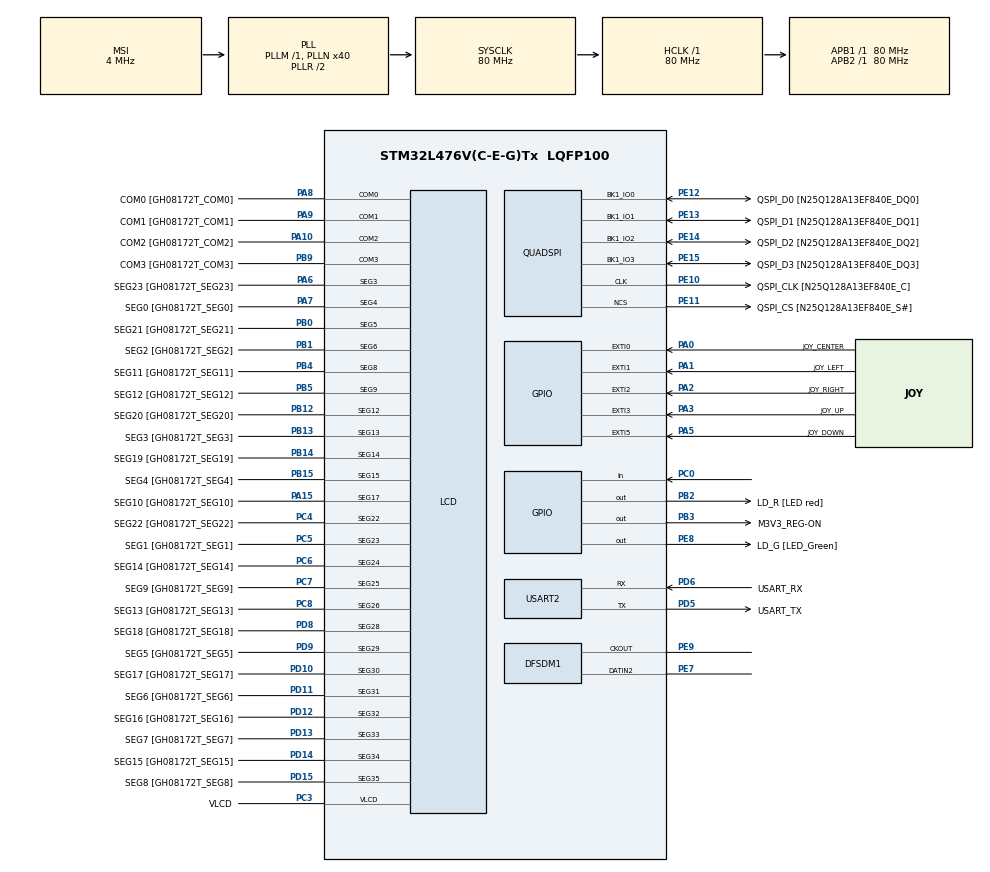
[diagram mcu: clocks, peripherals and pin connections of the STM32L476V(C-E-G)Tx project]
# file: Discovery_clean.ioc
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DFSDM1.Divider=40
DFSDM1.DmaMode_reg_FIL0=ENABLE
DFSDM1.FastMode_reg_FIL0=ENABLE
DFSDM1.Filter_regChannel_FIL0=DFSDM_CHANNEL_2
DFSDM1.Fosr_FIL0=250
DFSDM1.SincOrder_FIL0=DFSDM_FILTER_SINC3_ORDER
Dma.DFSDM1_FLT0.0.Direction=DMA_PERIPH_TO_MEMORY
Dma.DFSDM1_FLT0.0.Instance=DMA1_Channel4
Dma.DFSDM1_FLT0.0.MemDataAlignment=DMA_MDATAALIGN_WORD
Dma.DFSDM1_FLT0.0.MemInc=DMA_MINC_ENABLE
Dma.DFSDM1_FLT0.0.Mode=DMA_CIRCULAR
Dma.DFSDM1_FLT0.0.PeriphDataAlignment=DMA_PDATAALIGN_WORD
Dma.DFSDM1_FLT0.0.PeriphInc=DMA_PINC_DISABLE
Dma.DFSDM1_FLT0.0.Priority=DMA_PRIORITY_LOW
Dma.Request0=DFSDM1_FLT0
Dma.Request1=USART2_RX
Dma.Request2=USART2_TX
Dma.USART2_RX.1.Direction=DMA_PERIPH_TO_MEMORY
Dma.USART2_RX.1.Instance=DMA1_Channel6
Dma.USART2_RX.1.MemDataAlignment=DMA_MDATAALIGN_BYTE
Dma.USART2_RX.1.MemInc=DMA_MINC_ENABLE
Dma.USART2_RX.1.Mode=DMA_CIRCULAR
Dma.USART2_RX.1.PeriphDataAlignment=DMA_PDATAALIGN_BYTE
Dma.USART2_RX.1.PeriphInc=DMA_PINC_DISABLE
Dma.USART2_RX.1.Priority=DMA_PRIORITY_LOW
Dma.USART2_TX.2.Direction=DMA_MEMORY_TO_PERIPH
Dma.USART2_TX.2.Instance=DMA1_Channel7
Dma.USART2_TX.2.MemDataAlignment=DMA_MDATAALIGN_BYTE
Dma.USART2_TX.2.MemInc=DMA_MINC_ENABLE
Dma.USART2_TX.2.Mode=DMA_CIRCULAR
Dma.USART2_TX.2.PeriphDataAlignment=DMA_PDATAALIGN_BYTE
Dma.USART2_TX.2.PeriphInc=DMA_PINC_DISABLE
Dma.USART2_TX.2.Priority=DMA_PRIORITY_LOW
LCD.Bias=LCD_BIAS_1_3
LCD.Contrast=LCD_CONTRASTLEVEL_5
LCD.Prescaler=LCD_PRESCALER_4
LCD.PulseOnDuration=LCD_PULSEONDURATION_4
Mcu.Family=STM32L4
Mcu.Name=STM32L476V(C-E-G)Tx
Mcu.Package=LQFP100
NVIC.DMA1_Channel4_IRQn=true\:0\:0\:false\:false\:true\:false\:true
NVIC.DMA1_Channel6_IRQn=true\:0\:0\:false\:false\:true\:false\:true
NVIC.DMA1_Channel7_IRQn=true\:0\:0\:false\:false\:true\:false\:true
NVIC.EXTI0_IRQn=true\:0\:0\:false\:false\:true\:true\:true
NVIC.EXTI1_IRQn=true\:0\:0\:false\:false\:true\:true\:true
NVIC.EXTI2_IRQn=true\:0\:0\:false\:false\:true\:true\:true
NVIC.EXTI3_IRQn=true\:0\:0\:false\:false\:true\:true\:true
NVIC.EXTI9_5_IRQn=true\:0\:0\:false\:false\:true\:true\:true
NVIC.PriorityGroup=NVIC_PRIORITYGROUP_4
NVIC.USART2_IRQn=true\:0\:0\:false\:false\:true\:true\:true
PA0.GPIO_Label=JOY_CENTER
PA0.GPIO_PuPd=GPIO_PULLDOWN
PA0.Signal=GPXTI0
PA1.GPIO_Label=JOY_LEFT
PA1.GPIO_PuPd=GPIO_PULLDOWN
PA1.Signal=GPXTI1
PA10.GPIO_Label=COM2 [GH08172T_COM2]
PA10.GPIO_Mode=GPIO_MODE_AF_PP
PA10.GPIO_PuPd=GPIO_NOPULL
PA10.GPIO_Speed=GPIO_SPEED_FREQ_LOW
PA10.Mode=1/4 Duty Cycle
PA10.Signal=LCD_COM2
PA13\ (JTMS-SWDIO).GPIO_Label=SWDIO
PA13\ (JTMS-SWDIO).Signal=SYS_JTMS-SWDIO
PA14\ (JTCK-SWCLK).GPIO_Label=SWCLK
PA14\ (JTCK-SWCLK).Signal=SYS_JTCK-SWCLK
PA15\ (JTDI).GPIO_Label=SEG10 [GH08172T_SEG10]
PA15\ (JTDI).GPIO_Mode=GPIO_MODE_AF_PP
PA15\ (JTDI).GPIO_PuPd=GPIO_NOPULL
PA15\ (JTDI).GPIO_Speed=GPIO_SPEED_FREQ_LOW
PA15\ (JTDI).Mode=SEG17
PA15\ (JTDI).Signal=LCD_SEG17
PA2.GPIO_Label=JOY_RIGHT
PA2.GPIO_PuPd=GPIO_PULLDOWN
PA2.Signal=GPXTI2
PA3.GPIO_Label=JOY_UP
PA3.GPIO_PuPd=GPIO_PULLDOWN
PA3.Signal=GPXTI3
PA5.GPIO_Label=JOY_DOWN
PA5.GPIO_PuPd=GPIO_PULLDOWN
PA5.Signal=GPXTI5
PA6.GPIO_Label=SEG23 [GH08172T_SEG23]
PA6.GPIO_Mode=GPIO_MODE_AF_PP
PA6.GPIO_PuPd=GPIO_NOPULL
PA6.GPIO_Speed=GPIO_SPEED_FREQ_LOW
PA6.Mode=SEG3
PA6.Signal=LCD_SEG3
PA7.GPIO_Label=SEG0 [GH08172T_SEG0]
PA7.GPIO_Mode=GPIO_MODE_AF_PP
PA7.GPIO_PuPd=GPIO_NOPULL
PA7.GPIO_Speed=GPIO_SPEED_FREQ_LOW
PA7.Mode=SEG4
PA7.Signal=LCD_SEG4
PA8.GPIO_Label=COM0 [GH08172T_COM0]
PA8.GPIO_Mode=GPIO_MODE_AF_PP
PA8.GPIO_PuPd=GPIO_NOPULL
PA8.GPIO_Speed=GPIO_SPEED_FREQ_LOW
PA8.Mode=1/4 Duty Cycle
PA8.Signal=LCD_COM0
PA9.GPIO_Label=COM1 [GH08172T_COM1]
PA9.GPIO_Mode=GPIO_MODE_AF_PP
PA9.GPIO_PuPd=GPIO_NOPULL
PA9.GPIO_Speed=GPIO_SPEED_FREQ_LOW
PA9.Mode=1/4 Duty Cycle
PA9.Signal=LCD_COM1
PB0.GPIO_Label=SEG21 [GH08172T_SEG21]
PB0.GPIO_Mode=GPIO_MODE_AF_PP
PB0.GPIO_PuPd=GPIO_NOPULL
PB0.GPIO_Speed=GPIO_SPEED_FREQ_LOW
PB0.Mode=SEG5
PB0.Signal=LCD_SEG5
PB1.GPIO_Label=SEG2 [GH08172T_SEG2]
PB1.GPIO_Mode=GPIO_MODE_AF_PP
PB1.GPIO_PuPd=GPIO_NOPULL
PB1.GPIO_Speed=GPIO_SPEED_FREQ_LOW
PB1.Mode=SEG6
PB1.Signal=LCD_SEG6
PB12.GPIO_Label=SEG20 [GH08172T_SEG20]
PB12.GPIO_Mode=GPIO_MODE_AF_PP
PB12.GPIO_PuPd=GPIO_NOPULL
PB12.GPIO_Speed=GPIO_SPEED_FREQ_LOW
PB12.Mode=SEG12
PB12.Signal=LCD_SEG12
PB13.GPIO_Label=SEG3 [GH08172T_SEG3]
PB13.GPIO_Mode=GPIO_MODE_AF_PP
PB13.GPIO_PuPd=GPIO_NOPULL
PB13.GPIO_Speed=GPIO_SPEED_FREQ_LOW
PB13.Mode=SEG13
PB13.Signal=LCD_SEG13
PB14.GPIO_Label=SEG19 [GH08172T_SEG19]
PB14.GPIO_Mode=GPIO_MODE_AF_PP
PB14.GPIO_PuPd=GPIO_NOPULL
PB14.GPIO_Speed=GPIO_SPEED_FREQ_LOW
PB14.Mode=SEG14
PB14.Signal=LCD_SEG14
PB15.GPIO_Label=SEG4 [GH08172T_SEG4]
PB15.GPIO_Mode=GPIO_MODE_AF_PP
PB15.GPIO_PuPd=GPIO_NOPULL
PB15.GPIO_Speed=GPIO_SPEED_FREQ_LOW
PB15.Mode=SEG15
PB15.Signal=LCD_SEG15
PB2.GPIO_Label=LD_R [LED red]
PB2.GPIO_ModeDefaultOutputPP=GPIO_MODE_OUTPUT_PP
PB2.GPIO_PuPd=GPIO_PULLUP
PB2.GPIO_Speed=GPIO_SPEED_FREQ_VERY_HIGH
PB2.Signal=GPIO_Output
PB3\ (JTDO-TRACESWO).GPIO_Label=M3V3_REG-ON
PB3\ (JTDO-TRACESWO).GPIO_ModeDefaultOutputPP=GPIO_MODE_OUTPUT_PP
PB3\ (JTDO-TRACESWO).GPIO_PuPd=GPIO_NOPULL
PB3\ (JTDO-TRACESWO).GPIO_Speed=GPIO_SPEED_FREQ_LOW
PB3\ (JTDO-TRACESWO).Signal=GPIO_Output
PB4\ (NJTRST).GPIO_Label=SEG11 [GH08172T_SEG11]
PB4\ (NJTRST).GPIO_Mode=GPIO_MODE_AF_PP
PB4\ (NJTRST).GPIO_PuPd=GPIO_NOPULL
PB4\ (NJTRST).GPIO_Speed=GPIO_SPEED_FREQ_LOW
PB4\ (NJTRST).Mode=SEG8
PB4\ (NJTRST).Signal=LCD_SEG8
PB5.GPIO_Label=SEG12 [GH08172T_SEG12]
PB5.GPIO_Mode=GPIO_MODE_AF_PP
PB5.GPIO_PuPd=GPIO_NOPULL
PB5.GPIO_Speed=GPIO_SPEED_FREQ_LOW
PB5.Mode=SEG9
PB5.Signal=LCD_SEG9
PB9.GPIO_FM9=__NULL
PB9.GPIO_Label=COM3 [GH08172T_COM3]
PB9.GPIO_Mode=GPIO_MODE_AF_PP
PB9.GPIO_PuPd=GPIO_NOPULL
PB9.GPIO_Speed=GPIO_SPEED_FREQ_LOW
PB9.Mode=1/4 Duty Cycle
PB9.Signal=LCD_COM3
PC0.Signal=GPIO_Input
PC14-OSC32_IN\ (PC14).Signal=RCC_OSC32_IN
PC15-OSC32_OUT\ (PC15).Signal=RCC_OSC32_OUT
PC3.GPIO_Label=VLCD
PC3.GPIO_Mode=GPIO_MODE_AF_PP
PC3.GPIO_PuPd=GPIO_NOPULL
PC3.GPIO_Speed=GPIO_SPEED_FREQ_LOW
PC3.Mode=1/4 Duty Cycle
PC3.Signal=LCD_VLCD
PC4.GPIO_Label=SEG22 [GH08172T_SEG22]
PC4.GPIO_Mode=GPIO_MODE_AF_PP
PC4.GPIO_PuPd=GPIO_NOPULL
PC4.GPIO_Speed=GPIO_SPEED_FREQ_LOW
PC4.Mode=SEG22
PC4.Signal=LCD_SEG22
PC5.GPIO_Label=SEG1 [GH08172T_SEG1]
PC5.GPIO_Mode=GPIO_MODE_AF_PP
PC5.GPIO_PuPd=GPIO_NOPULL
PC5.GPIO_Speed=GPIO_SPEED_FREQ_LOW
PC5.Mode=SEG23
PC5.Signal=LCD_SEG23
PC6.GPIO_Label=SEG14 [GH08172T_SEG14]
PC6.GPIO_Mode=GPIO_MODE_AF_PP
PC6.GPIO_PuPd=GPIO_NOPULL
PC6.GPIO_Speed=GPIO_SPEED_FREQ_LOW
PC6.Mode=SEG24
PC6.Signal=LCD_SEG24
PC7.GPIO_Label=SEG9 [GH08172T_SEG9]
PC7.GPIO_Mode=GPIO_MODE_AF_PP
PC7.GPIO_PuPd=GPIO_NOPULL
PC7.GPIO_Speed=GPIO_SPEED_FREQ_LOW
PC7.Mode=SEG25
PC7.Signal=LCD_SEG25
PC8.GPIO_Label=SEG13 [GH08172T_SEG13]
PC8.GPIO_Mode=GPIO_MODE_AF_PP
PC8.GPIO_PuPd=GPIO_NOPULL
PC8.GPIO_Speed=GPIO_SPEED_FREQ_LOW
PC8.Mode=SEG26
PC8.Signal=LCD_SEG26
PD10.GPIO_Label=SEG17 [GH08172T_SEG17]
PD10.GPIO_Mode=GPIO_MODE_AF_PP
PD10.GPIO_PuPd=GPIO_NOPULL
PD10.GPIO_Speed=GPIO_SPEED_FREQ_LOW
PD10.Mode=SEG30
PD10.Signal=LCD_SEG30
PD11.GPIO_Label=SEG6 [GH08172T_SEG6]
PD11.GPIO_Mode=GPIO_MODE_AF_PP
PD11.GPIO_PuPd=GPIO_NOPULL
PD11.GPIO_Speed=GPIO_SPEED_FREQ_LOW
PD11.Mode=SEG31
PD11.Signal=LCD_SEG31
PD12.GPIO_Label=SEG16 [GH08172T_SEG16]
PD12.GPIO_Mode=GPIO_MODE_AF_PP
PD12.GPIO_PuPd=GPIO_NOPULL
PD12.GPIO_Speed=GPIO_SPEED_FREQ_LOW
PD12.Mode=SEG32
PD12.Signal=LCD_SEG32
PD13.GPIO_Label=SEG7 [GH08172T_SEG7]
PD13.GPIO_Mode=GPIO_MODE_AF_PP
PD13.GPIO_PuPd=GPIO_NOPULL
PD13.GPIO_Speed=GPIO_SPEED_FREQ_LOW
PD13.Mode=SEG33
PD13.Signal=LCD_SEG33
PD14.GPIO_Label=SEG15 [GH08172T_SEG15]
PD14.GPIO_Mode=GPIO_MODE_AF_PP
PD14.GPIO_PuPd=GPIO_NOPULL
PD14.GPIO_Speed=GPIO_SPEED_FREQ_LOW
PD14.Mode=SEG34
PD14.Signal=LCD_SEG34
PD15.GPIO_Label=SEG8 [GH08172T_SEG8]
PD15.GPIO_Mode=GPIO_MODE_AF_PP
PD15.GPIO_PuPd=GPIO_NOPULL
PD15.GPIO_Speed=GPIO_SPEED_FREQ_LOW
PD15.Mode=SEG35
PD15.Signal=LCD_SEG35
PD5.GPIO_Label=USART_TX
PD5.GPIO_Mode=GPIO_MODE_AF_PP
PD5.GPIO_PuPd=GPIO_NOPULL
PD5.GPIO_Speed=GPIO_SPEED_FREQ_VERY_HIGH
PD5.Mode=Asynchronous
PD5.Signal=USART2_TX
PD6.GPIO_Label=USART_RX
PD6.GPIO_Mode=GPIO_MODE_AF_PP
PD6.GPIO_PuPd=GPIO_NOPULL
PD6.GPIO_Speed=GPIO_SPEED_FREQ_VERY_HIGH
PD6.Mode=Asynchronous
PD6.Signal=USART2_RX
PD8.GPIO_Label=SEG18 [GH08172T_SEG18]
PD8.GPIO_Mode=GPIO_MODE_AF_PP
PD8.GPIO_PuPd=GPIO_NOPULL
PD8.GPIO_Speed=GPIO_SPEED_FREQ_LOW
PD8.Mode=SEG28
PD8.Signal=LCD_SEG28
PD9.GPIO_Label=SEG5 [GH08172T_SEG5]
PD9.GPIO_Mode=GPIO_MODE_AF_PP
PD9.GPIO_PuPd=GPIO_NOPULL
PD9.GPIO_Speed=GPIO_SPEED_FREQ_LOW
PD9.Mode=SEG29
PD9.Signal=LCD_SEG29
PE10.GPIO_Label=QSPI_CLK [N25Q128A13EF840E_C]
PE10.GPIO_Mode=GPIO_MODE_AF_PP
PE10.GPIO_PuPd=GPIO_NOPULL
PE10.GPIO_Speed=GPIO_SPEED_FREQ_VERY_HIGH
PE10.Mode=Single Bank
PE10.Signal=QUADSPI_CLK
PE11.GPIO_Label=QSPI_CS [N25Q128A13EF840E_S\#]
PE11.GPIO_Mode=GPIO_MODE_AF_PP
PE11.GPIO_PuPd=GPIO_NOPULL
PE11.GPIO_Speed=GPIO_SPEED_FREQ_VERY_HIGH
PE11.Mode=Single Bank
PE11.Signal=QUADSPI_NCS
PE12.GPIO_Label=QSPI_D0 [N25Q128A13EF840E_DQ0]
PE12.GPIO_Mode=GPIO_MODE_AF_PP
PE12.GPIO_PuPd=GPIO_NOPULL
PE12.GPIO_Speed=GPIO_SPEED_FREQ_VERY_HIGH
PE12.Mode=Single Bank
PE12.Signal=QUADSPI_BK1_IO0
PE13.GPIO_Label=QSPI_D1 [N25Q128A13EF840E_DQ1]
PE13.GPIO_Mode=GPIO_MODE_AF_PP
PE13.GPIO_PuPd=GPIO_NOPULL
PE13.GPIO_Speed=GPIO_SPEED_FREQ_VERY_HIGH
PE13.Mode=Single Bank
PE13.Signal=QUADSPI_BK1_IO1
PE14.GPIO_Label=QSPI_D2 [N25Q128A13EF840E_DQ2]
PE14.GPIO_Mode=GPIO_MODE_AF_PP
PE14.GPIO_PuPd=GPIO_NOPULL
PE14.GPIO_Speed=GPIO_SPEED_FREQ_VERY_HIGH
PE14.Mode=Single Bank
PE14.Signal=QUADSPI_BK1_IO2
PE15.GPIO_Label=QSPI_D3 [N25Q128A13EF840E_DQ3]
PE15.GPIO_Mode=GPIO_MODE_AF_PP
PE15.GPIO_PuPd=GPIO_NOPULL
PE15.GPIO_Speed=GPIO_SPEED_FREQ_VERY_HIGH
PE15.Mode=Single Bank
PE15.Signal=QUADSPI_BK1_IO3
PE7.Signal=S_DATAIN2DFSDM1
PE8.GPIO_Label=LD_G [LED_Green]
PE8.GPIO_ModeDefaultOutputPP=GPIO_MODE_OUTPUT_PP
PE8.GPIO_PuPd=GPIO_PULLUP
PE8.GPIO_Speed=GPIO_SPEED_FREQ_VERY_HIGH
PE8.Signal=GPIO_Output
PE9.Signal=S_CKOUTDFSDM1
PH0-OSC_IN\ (PH0).Signal=RCC_OSC_IN
PH1-OSC_OUT\ (PH1).Signal=RCC_OSC_OUT
ProjectManager.HeapSize=0x200
ProjectManager.StackSize=0x400
ProjectManager.TargetToolchain=STM32CubeIDE
QUADSPI.ClockPrescaler-Single\ Bank=1
QUADSPI.FifoThreshold-Single\ Bank=4
QUADSPI.FlashSize-Single\ Bank=23
QUADSPI.SampleShifting-Single\ Bank=QSPI_SAMPLE_SHIFTING_HALFCYCLE
RCC.AHBFreq_Value=80000000
RCC.APB1Freq_Value=80000000
RCC.APB1TimFreq_Value=80000000
RCC.APB2Freq_Value=80000000
RCC.APB2TimFreq_Value=80000000
RCC.CortexFreq_Value=80000000
RCC.HCLKFreq_Value=80000000
RCC.HSE_VALUE=8000000
RCC.HSI_VALUE=16000000
RCC.LSE_VALUE=32768
RCC.MSI_VALUE=4000000
RCC.PLLN=40
RCC.PREFETCH_ENABLE=1
RCC.SYSCLKFreq_VALUE=80000000
RCC.SYSCLKSource=RCC_SYSCLKSOURCE_PLLCLK
RCC.VCOOutputFreq_Value=160000000
RTC.Date=1
RTC.Format=RTC_FORMAT_BCD
RTC.Hours=15
RTC.Minutes=30
RTC.Month=RTC_MONTH_JUNE
RTC.SynchPrediv=249
RTC.WeekDay=RTC_WEEKDAY_MONDAY
RTC.Year=20
SH.S_CKOUTDFSDM1.0=DFSDM1_CKOUT,PDM_SPI_input_from_ch2_and_internal_clock
SH.S_CKOUTDFSDM1.1=DFSDM1_CKOUT,CKOUT
SH.S_DATAIN2DFSDM1.0=DFSDM1_DATIN2,PDM_SPI_input_from_ch2_and_internal_clock
USART2.VirtualMode-Asynchronous=VM_ASYNC
VP_RTC_VS_RTC_Activate.Mode=RTC_Enabled
VP_RTC_VS_RTC_Calendar.Mode=RTC_Calendar
board=STM32L476G-DISCO

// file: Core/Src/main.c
/* USER CODE BEGIN Header */
/**
  ******************************************************************************
  * @file           : main.c
  * @brief          : Main program body
  ******************************************************************************
  * @attention
  *
  * <h2><center>&copy; Copyright (c) 2020 STMicroelectronics.
  * All rights reserved.</center></h2>
  *
  * This software component is licensed by ST under BSD 3-Clause license,
  * the "License"; You may not use this file except in compliance with the
  * License. You may obtain a copy of the License at:
  *                        opensource.org/licenses/BSD-3-Clause
  *
  ******************************************************************************
  */
/* USER CODE END Header */

#include "main.h"
#include "dfsdm.h"
#include "dma.h"
#include "lcd.h"
#include "quadspi.h"
#include "rtc.h"
#include "usart.h"
#include "gpio.h"

/* USER CODE BEGIN Includes */
#include <stdlib.h>
#include <stdio.h>
#include "audio_fw_glo.h"
#include "smr_glo.h"
#include "sdr_glo.h"
#include <math.h>
#include "stm32l476g_discovery_qspi.h"
/* USER CODE END Includes */

/* USER CODE BEGIN PD */
#define AUDIO_REC 160
/* USER CODE END PD */

/* USER CODE BEGIN PV */

RTC_TimeTypeDef sTime;
uint8_t czas[6];
uint8_t czas2[6];
RTC_DateTypeDef sDate;
uint8_t Joy_center_flag;
uint8_t	Joy_right_flag;
uint8_t	Joy_left_flag;
uint8_t	Joy_down_flag;
uint8_t	Joy_up_flag;
uint8_t reading_flag = 0;

LCD_HandleTypeDef hlcd;

QSPI_CommandTypeDef sCommand;
uint8_t ID_REG[3];

int32_t RecBuf[AUDIO_REC];
int32_t PlayBuf[AUDIO_REC];
uint8_t dane_do_wyslania[8] = {1, 2, 3, 4, 5, 6, 7, 8};
uint8_t dane_do_odebrania[8];
uint32_t nb_of_saved = 0;
uint32_t actual_addr = 0;

int32_t					SoundDetectorOutputBuff[AUDIO_REC];

void					*persistent_mem_ptr;
void					*scratch_mem_ptr;
sdr_static_param_t 		sdr_input_static_param_ptr;
sdr_dynamic_param_t 	sdr_input_dynamic_param_ptr;
buffer_t				*sdr_input_buffer;
buffer_t				*sdr_output_buffer;

int32_t 				ratio_threshold1_dB = 11;
int32_t					ratio_threshold2_dB = 9;
int32_t 				hangover_number_of_frames = 4;
int32_t					learning_frames_number = 2;

uint8_t DmaRecHalfBuffCplt = 0;
uint8_t DmaRecBuffCplt = 0;
/* USER CODE END PV */

void SystemClock_Config(void);
/* USER CODE BEGIN PFP */

static void SoundDetector_Init(void);

int _write(int file, char *ptr, int len)
{
	HAL_UART_Transmit(&huart2, (uint8_t *)ptr, len, 50);
	return len;
}

void HAL_GPIO_EXTI_Callback(uint16_t GPIO_Pin);
void leftShift(char *word, int len);
/* USER CODE END PFP */

int main(void)
{
  /* USER CODE BEGIN 1 */
	uint8_t tmp[2];
	uint32_t i = 0;
	uint8_t test[20] = {'0', '0', '-', '0', '0', '-', '0', '0'};
	uint8_t lstnng[6] = {'L', 'S', 'T', 'N', 'N', 'G'};
	uint8_t delete[6] = {'D', 'E', 'L', 'E', 'T', 'E'};
	uint8_t none[6] = {'N', 'O', 'N', 'E', ' ', ' '};
  /* USER CODE END 1 */

  /* MCU Configuration--------------------------------------------------------*/

  /* Reset of all peripherals, Initializes the Flash interface and the Systick. */
  HAL_Init();

  /* Configure the system clock */
  SystemClock_Config();

  /* Initialize all configured peripherals */
  MX_GPIO_Init();
  MX_DMA_Init();
  MX_DFSDM1_Init();
  MX_USART2_UART_Init();
  //MX_QUADSPI_Init();
  MX_LCD_Init();
  MX_RTC_Init();
  /* USER CODE BEGIN 2 */
  printf("BSP_QSPI_Init(): %d\r\n",BSP_QSPI_Init());
  HAL_DFSDM_FilterRegularStart_DMA(&hdfsdm1_filter0, RecBuf, AUDIO_REC);
  i = 0;
  SoundDetector_Init();
  /* USER CODE END 2 */

  /* Infinite loop */
  /* USER CODE BEGIN WHILE */
  BSP_LCD_GLASS_DisplayBar(LCD_BAR_0);
  BSP_LCD_GLASS_DisplayBar(LCD_BAR_1);
  BSP_LCD_GLASS_DisplayBar(LCD_BAR_2);
  BSP_LCD_GLASS_DisplayBar(LCD_BAR_3);
  BSP_LCD_GLASS_Clear();
  while (1)
  {

	  if (Joy_up_flag == 1 && reading_flag == 0){
		  Joy_up_flag = 0;
		  BSP_LCD_GLASS_Clear();
		  BSP_LCD_GLASS_DisplayString(delete);
		  while(1){
			  if(Joy_left_flag == 1){
				  Joy_left_flag = 0;
				  break;
			  }
			  if(Joy_center_flag == 1){
				  Joy_center_flag = 0;
				  actual_addr = 0x0;
				  BSP_QSPI_Erase_Chip();
				  nb_of_saved = 0;
				  break;
			  }
		  }
	  }
	  if(Joy_center_flag == 1){
		  i = 0x0;
		  reading_flag = 1;
		  Joy_center_flag = 0;
	  	  printf("BSP_QSPI_Read(%lX): %d\r\n", i, BSP_QSPI_Read(czas2, i, 6));
	  	  while(BSP_QSPI_GetStatus() != QSPI_OK)
	  	  {}
	  	  printf("%d:%d:%d, %d-%d-%d\r\n", czas2[0], czas2[1], czas2[2], czas[3], czas[4], czas[5]);
	  	  sprintf((char *)test, "%2d-%2d-%2d %2d-%2d-%2d\r\n", czas2[0], czas2[1], czas2[2], czas[3], czas[4], czas[5]);
	  	  BSP_LCD_GLASS_Clear();
	  	  if (nb_of_saved == 0)
	  		  BSP_LCD_GLASS_DisplayString(none);
	  	  else
	  		  BSP_LCD_GLASS_DisplayString(test);
	  }
	  if (Joy_left_flag == 1){
		  Joy_left_flag = 0;
		  reading_flag = 0;
	  }
	  if (Joy_right_flag == 1 && reading_flag == 1){
		  Joy_right_flag = 0;
		  leftShift((char *)test, 19);
		  for(int a = 0; a < 19; a++){
			  printf("%c", test[a]);
		  }
		  printf("\r\n");
  		  BSP_LCD_GLASS_Clear();
	  	  if (nb_of_saved == 0)
	  		  BSP_LCD_GLASS_DisplayString(none);
	  	  else
	  		  BSP_LCD_GLASS_DisplayString(test);
  	  }
  	  if (Joy_down_flag == 1 && reading_flag == 1){
  		  Joy_down_flag = 0;
  		  i+=0x1000;
	  	  if (i >= actual_addr){
	  		  i = 0x0;
	  	  }
	  	  printf("BSP_QSPI_Read(%lX): %d\r\n", i, BSP_QSPI_Read(czas2, i, 6));
	  	  while(BSP_QSPI_GetStatus() != QSPI_OK)
	  	  {}
	  	  printf("%d:%d:%d, %d-%d-%d\r\n", czas2[0], czas2[1], czas2[2], czas[3], czas[4], czas[5]);
	  	  sprintf((char *)test, "%2d-%2d-%2d %2d-%2d-%2d\r\n", czas2[0], czas2[1], czas2[2], czas[3], czas[4], czas[5]);
	  	  BSP_LCD_GLASS_Clear();
	  	  if (nb_of_saved == 0)
	  		  BSP_LCD_GLASS_DisplayString(none);
	  	  else
	  		  BSP_LCD_GLASS_DisplayString(test);
  	  }
    /* USER CODE END WHILE */

    /* USER CODE BEGIN 3 */
	  if(DmaRecBuffCplt == 1 && reading_flag == 0){
		  BSP_LCD_GLASS_DisplayString(lstnng);
		  for (i = 0; i < AUDIO_REC; i++)
		  {
			  PlayBuf[i]=RecBuf[i]>>8;
		  }
		  if( SDR_ERROR_NONE != sdr_process(sdr_input_buffer, sdr_output_buffer, persistent_mem_ptr))
		  {
			  printf("sdr_process error: %ld\r\n",sdr_process(sdr_input_buffer, sdr_output_buffer, persistent_mem_ptr));
		  }
		  if( SDR_ERROR_NONE != sdr_getConfig(&sdr_input_dynamic_param_ptr, persistent_mem_ptr))
		  {
			  printf("sdr_getConfig error: %ld",sdr_getConfig(&sdr_input_dynamic_param_ptr, persistent_mem_ptr));
		  }
		  if(sdr_input_dynamic_param_ptr.output_state == 1)
	  		  {
	  			  HAL_GPIO_WritePin(LD_R_GPIO_Port, LD_R_Pin, GPIO_PIN_RESET);
	  		  	  HAL_GPIO_WritePin(LD_G_GPIO_Port, LD_G_Pin, GPIO_PIN_SET);
	  		  }
	  		  else
	  		  {
	  			  HAL_GPIO_WritePin(LD_R_GPIO_Port, LD_R_Pin, GPIO_PIN_SET);
	  			  HAL_GPIO_WritePin(LD_G_GPIO_Port, LD_G_Pin, GPIO_PIN_RESET);
	  		  }
		  tmp[0] = tmp[1];
		  tmp[1] = sdr_input_dynamic_param_ptr.output_state;
		  if (tmp[0] == 0 && tmp[1] == 1){
  			  HAL_RTC_GetTime(&hrtc, &sTime, RTC_FORMAT_BIN);
  			  HAL_RTC_GetDate(&hrtc, &sDate, RTC_FORMAT_BIN);
  			  printf("%d_%d_%d - ", sDate.Year, sDate.Month, sDate.Date);
  			  printf("%d:%d:%d\r\n", sTime.Hours, sTime.Minutes, sTime.Seconds);
  			  printf("BSP_QSPI_Erase_Sector(%lX): %d\r\n", actual_addr, BSP_QSPI_Erase_Sector(actual_addr));
  			  while(BSP_QSPI_GetStatus() != QSPI_OK)
  			  {}
  			  czas[0] = sTime.Hours;
  			  czas[1] = sTime.Minutes;
  			  czas[2] = sTime.Seconds;
  			  czas[3] = sDate.Date;
  			  czas[4] = sDate.Month;
  			  czas[5] = sDate.Year;
  			  printf("BSP_QSPI_Write(%lX): %d\r\n", actual_addr, BSP_QSPI_Write(czas, actual_addr, 6));
  			  while(BSP_QSPI_GetStatus() != QSPI_OK)
  			  {}
  			  actual_addr += 0x1000;
  			  nb_of_saved++;
  			  if (actual_addr >= 0xFFF000){
  				  actual_addr = 0x0;
  			  }
		  }
		  printf("%d%d\r\n", tmp[0], tmp[1]);
	  DmaRecBuffCplt = 0;
	  }
  }
  /* USER CODE END 3 */
}

void SystemClock_Config(void)
{
  RCC_OscInitTypeDef RCC_OscInitStruct = {0};
  RCC_ClkInitTypeDef RCC_ClkInitStruct = {0};
  RCC_PeriphCLKInitTypeDef PeriphClkInit = {0};

  /** Initializes the CPU, AHB and APB busses clocks
  */
  RCC_OscInitStruct.OscillatorType = RCC_OSCILLATORTYPE_LSI|RCC_OSCILLATORTYPE_MSI;
  RCC_OscInitStruct.LSIState = RCC_LSI_ON;
  RCC_OscInitStruct.MSIState = RCC_MSI_ON;
  RCC_OscInitStruct.MSICalibrationValue = 0;
  RCC_OscInitStruct.MSIClockRange = RCC_MSIRANGE_6;
  RCC_OscInitStruct.PLL.PLLState = RCC_PLL_ON;
  RCC_OscInitStruct.PLL.PLLSource = RCC_PLLSOURCE_MSI;
  RCC_OscInitStruct.PLL.PLLM = 1;
  RCC_OscInitStruct.PLL.PLLN = 40;
  RCC_OscInitStruct.PLL.PLLP = RCC_PLLP_DIV7;
  RCC_OscInitStruct.PLL.PLLQ = RCC_PLLQ_DIV2;
  RCC_OscInitStruct.PLL.PLLR = RCC_PLLR_DIV2;
  if (HAL_RCC_OscConfig(&RCC_OscInitStruct) != HAL_OK)
  {
    Error_Handler();
  }
  /** Initializes the CPU, AHB and APB busses clocks
  */
  RCC_ClkInitStruct.ClockType = RCC_CLOCKTYPE_HCLK|RCC_CLOCKTYPE_SYSCLK
                              |RCC_CLOCKTYPE_PCLK1|RCC_CLOCKTYPE_PCLK2;
  RCC_ClkInitStruct.SYSCLKSource = RCC_SYSCLKSOURCE_PLLCLK;
  RCC_ClkInitStruct.AHBCLKDivider = RCC_SYSCLK_DIV1;
  RCC_ClkInitStruct.APB1CLKDivider = RCC_HCLK_DIV1;
  RCC_ClkInitStruct.APB2CLKDivider = RCC_HCLK_DIV1;

  if (HAL_RCC_ClockConfig(&RCC_ClkInitStruct, FLASH_LATENCY_4) != HAL_OK)
  {
    Error_Handler();
  }
  PeriphClkInit.PeriphClockSelection = RCC_PERIPHCLK_RTC|RCC_PERIPHCLK_USART2
                              |RCC_PERIPHCLK_DFSDM1;
  PeriphClkInit.Usart2ClockSelection = RCC_USART2CLKSOURCE_PCLK1;
  PeriphClkInit.Dfsdm1ClockSelection = RCC_DFSDM1CLKSOURCE_PCLK;
  PeriphClkInit.RTCClockSelection = RCC_RTCCLKSOURCE_LSI;
  if (HAL_RCCEx_PeriphCLKConfig(&PeriphClkInit) != HAL_OK)
  {
    Error_Handler();
  }
  /** Configure the main internal regulator output voltage
  */
  if (HAL_PWREx_ControlVoltageScaling(PWR_REGULATOR_VOLTAGE_SCALE1) != HAL_OK)
  {
    Error_Handler();
  }
}

/* USER CODE BEGIN 4 */
void leftShift(char *word, int len){
	int i;
	char temp = word[0];
	for (i = 1; i < len; i++){
		word[i-1] = word[i];
	}
	word[len-1] = temp;
}

void HAL_GPIO_EXTI_Callback(uint16_t GPIO_Pin){
	if (GPIO_Pin == JOY_CENTER_Pin){
		Joy_center_flag = 1;
	}
	if (GPIO_Pin == JOY_LEFT_Pin){
		Joy_left_flag = 1;
	}
	if (GPIO_Pin == JOY_RIGHT_Pin){
		Joy_right_flag = 1;
	}
	if (GPIO_Pin == JOY_UP_Pin){
		Joy_up_flag = 1;
	}
	if (GPIO_Pin == JOY_DOWN_Pin){
		Joy_down_flag = 1;
	}
}

static void SoundDetector_Init(void)
{
	/* CRC enable and reset */
	__HAL_RCC_CRC_CLK_ENABLE();
	CRC->CR = CRC_CR_RESET;

	/* Memory allocation */
	persistent_mem_ptr = malloc(sdr_persistent_mem_size);
	scratch_mem_ptr    = malloc(sdr_scratch_mem_size);
	sdr_input_buffer   = (buffer_t *)malloc(sizeof(buffer_t));
	sdr_output_buffer   = (buffer_t *)malloc(sizeof(buffer_t));

	/* sdr_reset() */
	if(SDR_ERROR_NONE != sdr_reset(persistent_mem_ptr, scratch_mem_ptr))
		printf("sdr_reset error: %ld\r\n", sdr_reset(persistent_mem_ptr, scratch_mem_ptr));

	/* static_param initialization */
	sdr_input_static_param_ptr.sampling_rate = 8000;
	sdr_input_static_param_ptr.buffer_size   = AUDIO_REC;
	sdr_input_static_param_ptr.learning_frame_nb = learning_frames_number;

	/* dynamic_param initialization */
	sdr_input_dynamic_param_ptr.enable = 1;
	sdr_input_dynamic_param_ptr.ratio_thr1_dB = ratio_threshold1_dB;
	sdr_input_dynamic_param_ptr.ratio_thr2_dB = ratio_threshold2_dB;
	sdr_input_dynamic_param_ptr.noise_pwr_min_dB = -60;
	sdr_input_dynamic_param_ptr.hangover_nb_frame = hangover_number_of_frames;

	/* sdr_setParam() */
	if(SDR_ERROR_NONE != sdr_setParam(&sdr_input_static_param_ptr, persistent_mem_ptr))
		printf("sdr_setParam error: %ld\r\n", sdr_setParam(&sdr_input_static_param_ptr, persistent_mem_ptr));

	/* sdr_setConfig() */
	if(SDR_ERROR_NONE != sdr_setConfig(&sdr_input_dynamic_param_ptr, persistent_mem_ptr))
		printf("sdr_setConfig error: %ld\r\n", sdr_setConfig(&sdr_input_dynamic_param_ptr, persistent_mem_ptr));

	/* buffers init */
	sdr_input_buffer -> nb_channels = 1;
	sdr_input_buffer -> nb_bytes_per_Sample = 3;
	sdr_input_buffer -> data_ptr = PlayBuf;
	sdr_input_buffer -> buffer_size = AUDIO_REC;
	sdr_input_buffer -> mode = 0;

	sdr_output_buffer -> nb_channels = 1;
	sdr_output_buffer -> nb_bytes_per_Sample = 3;
	sdr_output_buffer -> data_ptr = SoundDetectorOutputBuff;
	sdr_output_buffer -> buffer_size = AUDIO_REC;
	sdr_output_buffer -> mode = 0;

	/* sdr_setConfig() */
	if(SDR_ERROR_NONE != sdr_setConfig(&sdr_input_dynamic_param_ptr, persistent_mem_ptr))
		printf("sdr_setConfig error: %ld\n", sdr_setConfig(&sdr_input_dynamic_param_ptr, persistent_mem_ptr));

}

void HAL_DFSDM_FilterRegConvHalfCpltCallback(DFSDM_Filter_HandleTypeDef *hdfsdm_filter)
{
	//DmaRecHalfBuffCplt = 1;
}

void HAL_DFSDM_FilterRegConvCpltCallback(DFSDM_Filter_HandleTypeDef *hdfsdm_filter)
{
	DmaRecBuffCplt = 1;
}
/* USER CODE END 4 */

void Error_Handler(void)
{
}

/************************ (C) COPYRIGHT STMicroelectronics *****END OF FILE****/
